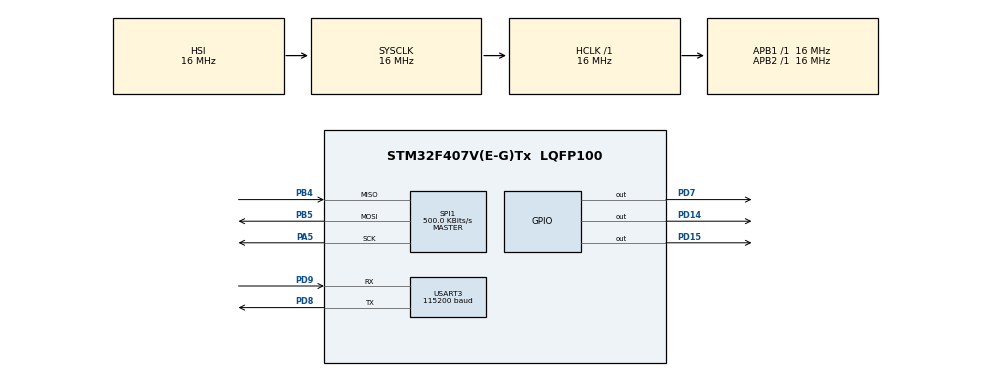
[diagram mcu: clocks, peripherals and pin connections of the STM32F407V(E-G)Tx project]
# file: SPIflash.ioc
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Mcu.Family=STM32F4
Mcu.Name=STM32F407V(E-G)Tx
Mcu.Package=LQFP100
NVIC.PriorityGroup=NVIC_PRIORITYGROUP_4
PA5.Mode=Full_Duplex_Master
PA5.Signal=SPI1_SCK
PB4.Mode=Full_Duplex_Master
PB4.Signal=SPI1_MISO
PB5.Mode=Full_Duplex_Master
PB5.Signal=SPI1_MOSI
PD14.Signal=GPIO_Output
PD15.Signal=GPIO_Output
PD7.Signal=GPIO_Output
PD8.Mode=Asynchronous
PD8.Signal=USART3_TX
PD9.Mode=Asynchronous
PD9.Signal=USART3_RX
ProjectManager.HeapSize=0x200
ProjectManager.StackSize=0x400
ProjectManager.TargetToolchain=STM32CubeIDE
RCC.AHBFreq_Value=16000000
RCC.APB1Freq_Value=16000000
RCC.APB2Freq_Value=16000000
RCC.CortexFreq_Value=16000000
RCC.HSE_VALUE=25000000
RCC.HSI_VALUE=16000000
RCC.LSE_VALUE=32768
RCC.SYSCLKFreq_VALUE=16000000
RCC.VCOOutputFreq_Value=192000000
SPI1.BaudRatePrescaler=SPI_BAUDRATEPRESCALER_32
SPI1.CalculateBaudRate=500.0 KBits/s
SPI1.Direction=SPI_DIRECTION_2LINES
SPI1.Mode=SPI_MODE_MASTER
SPI1.VirtualType=VM_MASTER
USART3.BaudRate=115200
USART3.VirtualMode=VM_ASYNC
board=custom

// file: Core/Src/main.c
/* USER CODE BEGIN Header */
/**
 * A program for reading sst25vf016b flash memory
 * and writing the necessary data inside.  */
/**
  ******************************************************************************
  * @file           : main.c
  * @brief          : Main program body
  ******************************************************************************
  * @attention
  *
  * <h2><center>&copy; Copyright (c) 2021 STMicroelectronics.
  * All rights reserved.</center></h2>
  *
  * This software component is licensed by ST under BSD 3-Clause license,
  * the "License"; You may not use this file except in compliance with the
  * License. You may obtain a copy of the License at:
  *                        opensource.org/licenses/BSD-3-Clause
  *
  ******************************************************************************
  */
/* USER CODE END Header */
#include "main.h"

/* USER CODE BEGIN Includes */
#include <stdio.h>
#include <string.h>
#include "SST25VF.h"
/* USER CODE END Includes */

/* USER CODE BEGIN PD */

#define COUNT_LINES 	17
#define COUNT_LEN 		55
// Uncomment WRITE_CAPSULE in order to write to flash memory text of time capsule.
// If this is not required, leave it as is and connect the board to UART.
// The program will read the contents of the memory card and send it on the UART.
//#define WRITE_CAPSULE
/* USER CODE END PD */

SPI_HandleTypeDef hspi1;

UART_HandleTypeDef huart3;

void SystemClock_Config(void);
static void MX_GPIO_Init(void);
static void MX_SPI1_Init(void);
static void MX_USART3_UART_Init(void);

int main(void)
{

  /* MCU Configuration--------------------------------------------------------*/

  /* Reset of all peripherals, Initializes the Flash interface and the Systick. */
  HAL_Init();

  /* Configure the system clock */
  SystemClock_Config();

  /* Initialize all configured peripherals */
  MX_GPIO_Init();
  MX_SPI1_Init();
  MX_USART3_UART_Init();
  /* USER CODE BEGIN 2 */
  //HAL_ADC_Start_IT(&hadc1);
  /* USER CODE END 2 */

  /* Infinite loop */
  /* USER CODE BEGIN WHILE */
  /* Init sst25 with spi and uart */
  sst25vfInitSPI(&hspi1);
  sst25vfInitUART(&huart3);
  /* Time capsule message */
  char capsule[COUNT_LINES][COUNT_LEN] =
  {	"******************************************************\n",
  	"From: Oles Bidak, oles.bidak@gmail.com\n",
  	"Mentor: Bogdan Liulko, bogdan.luilko@globallogic.com\n",
  	"Date: 05.12.2021\n",
	"TIME CAPSULE\n",
  	"******************************************************\n",
  	"And the people bowed and prayed\n",
  	"To the neon God they made,\n",
  	"And the sign flashed out, it's warning,\n",
  	"And the words that it was forming,\n",
  	"And the sign said:\n",
  	"'The words of the prophets\n",
  	"Are written on the subway walls,\n",
  	"And tenement halls,\n",
  	"And whispered in the sound of silence.'\n",
  	"    (Performed by Disturbed, of course.)",
  	"******************************************************\n"};

  #ifdef WRITE_CAPSULE
  // If #define WRITE_CAPSULE is uncommented, then this part of the program
  // will be executed, which will overwrite the time capsule.
  // The blue LED will light up during recording.
  	  HAL_GPIO_WritePin(GPIOD, GPIO_PIN_15, 1);
  	  uint32_t addr = 0x00;
  	  for (int sector = 0; sector < COUNT_LINES; sector++, addr += PAGE_SIZE)
  		  sectorErase(addr);

  	  addr = 0x00;
  	  for (int i = 0; i < COUNT_LINES; i++, addr += PAGE_SIZE)
  		  	writePage(capsule[i], addr, COUNT_LEN);
  	  HAL_GPIO_WritePin(GPIOD, GPIO_PIN_15, 0);

  #endif
  /* Searches and reads the time capsule every 4096 bytes. */
  searchMemToUart();

  while (1)
  {
	 /* When the read (and optionally write) operations
	  * are completed, the red LED will light up. */
	 HAL_GPIO_WritePin(GPIOD, GPIO_PIN_14, 1);

    /* USER CODE END WHILE */

  }
}

void SystemClock_Config(void)
{
  RCC_OscInitTypeDef RCC_OscInitStruct = {0};
  RCC_ClkInitTypeDef RCC_ClkInitStruct = {0};

  /** Configure the main internal regulator output voltage
  */
  __HAL_RCC_PWR_CLK_ENABLE();
  __HAL_PWR_VOLTAGESCALING_CONFIG(PWR_REGULATOR_VOLTAGE_SCALE1);
  /** Initializes the RCC Oscillators according to the specified parameters
  * in the RCC_OscInitTypeDef structure.
  */
  RCC_OscInitStruct.OscillatorType = RCC_OSCILLATORTYPE_HSI;
  RCC_OscInitStruct.HSIState = RCC_HSI_ON;
  RCC_OscInitStruct.HSICalibrationValue = RCC_HSICALIBRATION_DEFAULT;
  RCC_OscInitStruct.PLL.PLLState = RCC_PLL_NONE;
  if (HAL_RCC_OscConfig(&RCC_OscInitStruct) != HAL_OK)
  {
    Error_Handler();
  }
  /** Initializes the CPU, AHB and APB buses clocks
  */
  RCC_ClkInitStruct.ClockType = RCC_CLOCKTYPE_HCLK|RCC_CLOCKTYPE_SYSCLK
                              |RCC_CLOCKTYPE_PCLK1|RCC_CLOCKTYPE_PCLK2;
  RCC_ClkInitStruct.SYSCLKSource = RCC_SYSCLKSOURCE_HSI;
  RCC_ClkInitStruct.AHBCLKDivider = RCC_SYSCLK_DIV1;
  RCC_ClkInitStruct.APB1CLKDivider = RCC_HCLK_DIV1;
  RCC_ClkInitStruct.APB2CLKDivider = RCC_HCLK_DIV1;

  if (HAL_RCC_ClockConfig(&RCC_ClkInitStruct, FLASH_LATENCY_0) != HAL_OK)
  {
    Error_Handler();
  }
}

static void MX_SPI1_Init(void)
{

  /* SPI1 parameter configuration*/
  hspi1.Instance = SPI1;
  hspi1.Init.Mode = SPI_MODE_MASTER;
  hspi1.Init.Direction = SPI_DIRECTION_2LINES;
  hspi1.Init.DataSize = SPI_DATASIZE_8BIT;
  hspi1.Init.CLKPolarity = SPI_POLARITY_LOW;
  hspi1.Init.CLKPhase = SPI_PHASE_1EDGE;
  hspi1.Init.NSS = SPI_NSS_SOFT;
  hspi1.Init.BaudRatePrescaler = SPI_BAUDRATEPRESCALER_32;
  hspi1.Init.FirstBit = SPI_FIRSTBIT_MSB;
  hspi1.Init.TIMode = SPI_TIMODE_DISABLE;
  hspi1.Init.CRCCalculation = SPI_CRCCALCULATION_DISABLE;
  hspi1.Init.CRCPolynomial = 10;
  if (HAL_SPI_Init(&hspi1) != HAL_OK)
  {
    Error_Handler();
  }

}

static void MX_USART3_UART_Init(void)
{

  huart3.Instance = USART3;
  huart3.Init.BaudRate = 115200;
  huart3.Init.WordLength = UART_WORDLENGTH_8B;
  huart3.Init.StopBits = UART_STOPBITS_1;
  huart3.Init.Parity = UART_PARITY_NONE;
  huart3.Init.Mode = UART_MODE_TX_RX;
  huart3.Init.HwFlowCtl = UART_HWCONTROL_NONE;
  huart3.Init.OverSampling = UART_OVERSAMPLING_16;
  if (HAL_UART_Init(&huart3) != HAL_OK)
  {
    Error_Handler();
  }

}

static void MX_GPIO_Init(void)
{
  GPIO_InitTypeDef GPIO_InitStruct = {0};

  /* GPIO Ports Clock Enable */
  __HAL_RCC_GPIOA_CLK_ENABLE();
  __HAL_RCC_GPIOD_CLK_ENABLE();
  __HAL_RCC_GPIOB_CLK_ENABLE();

  /*Configure GPIO pin Output Level */
  HAL_GPIO_WritePin(GPIOD, GPIO_PIN_14|GPIO_PIN_15|GPIO_PIN_7, GPIO_PIN_RESET);

  /*Configure GPIO pins : PD14 PD15 PD7 */
  GPIO_InitStruct.Pin = GPIO_PIN_14|GPIO_PIN_15|GPIO_PIN_7;
  GPIO_InitStruct.Mode = GPIO_MODE_OUTPUT_PP;
  GPIO_InitStruct.Pull = GPIO_NOPULL;
  GPIO_InitStruct.Speed = GPIO_SPEED_FREQ_LOW;
  HAL_GPIO_Init(GPIOD, &GPIO_InitStruct);

}

void Error_Handler(void)
{
  __disable_irq();
  while (1)
  {
  }
}

/************************ (C) COPYRIGHT STMicroelectronics *****END OF FILE****/
